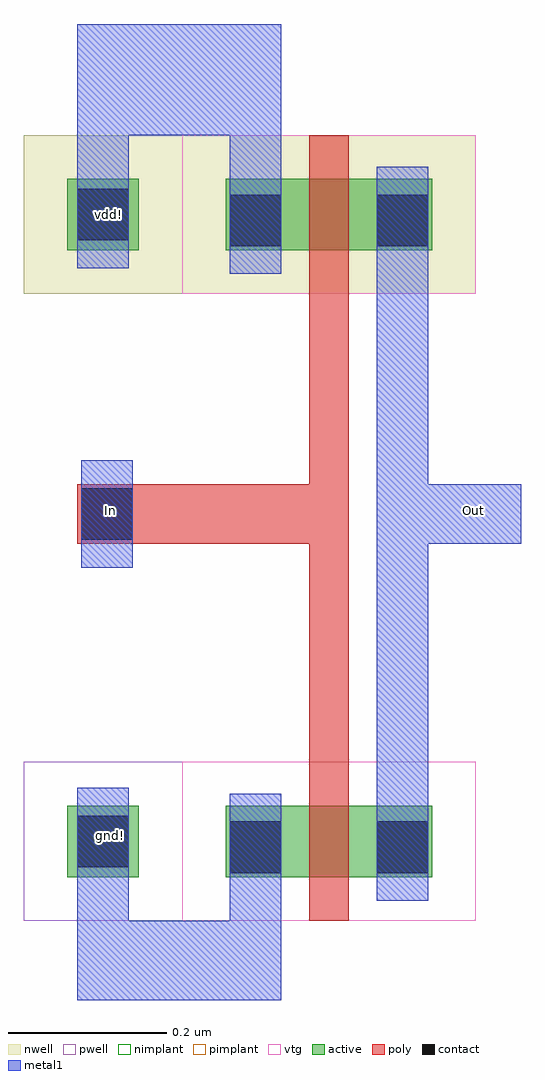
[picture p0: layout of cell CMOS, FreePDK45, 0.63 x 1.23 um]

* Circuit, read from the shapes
.subckt CMOS In Out gnd! vdd!
M1 Out In gnd! gnd! nfet w=0.09u l=0.05u
M2 Out In vdd! vdd! pfet w=0.09u l=0.05u
.ends

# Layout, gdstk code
import gdstk
lib = gdstk.Library(unit=1e-6, precision=5e-10)
def R(c, l, rs):  # rectangles x0, y0, x1, y1
    for r in rs: c.add(gdstk.rectangle(r[:2], r[2:], *l))
active = (1, 0)
pwell = (2, 0)
nwell = (3, 0)
nimplant = (4, 0)
pimplant = (5, 0)
vtg = (6, 0)
poly = (9, 0)
contact = (10, 0)
metal1 = (11, 0)

dcont_2 = lib.new_cell('dcont_2')
R(dcont_2, active, [(-0.0375,0.03,0.0375,0.105)])
R(dcont_2, contact, [(-0.0325,0.035,0.0325,0.1)])
R(dcont_2, metal1, [(-0.0325,0,0.0325,0.135)])

pmos_vtg_0 = lib.new_cell('pmos_vtg_0')
R(pmos_vtg_0, active, [(-0.105,0,0.155,0.09), (-0.105,0,-0.03,0.09), (-0.105,0,-0.03,0.09), (0.08,0,0.155,0.09), (0.08,0,0.155,0.09)])
R(pmos_vtg_0, nwell, [(-0.16,-0.055,0.21,0.145)])
R(pmos_vtg_0, pimplant, [(-0.105,0,0.155,0.09)])
R(pmos_vtg_0, vtg, [(-0.16,-0.055,0.21,0.145)])
R(pmos_vtg_0, poly, [(0,-0.055,0.05,0), (0,-0.055,0.05,0.145), (0,0.09,0.05,0.145)])
pmos_vtg_0.add(gdstk.Reference(dcont_2, (0.1175,-0.03)))
pmos_vtg_0.add(gdstk.Reference(dcont_2, (-0.0675,-0.03)))
pmos_vtg_0.add(gdstk.Label('l = 0.05', (0.06,0.045), layer=230, texttype=0))
pmos_vtg_0.add(gdstk.Label('w = 0.09', (0.025,0.155), layer=230, texttype=0))

nmos_vtg_1 = lib.new_cell('nmos_vtg_1')
R(nmos_vtg_1, active, [(-0.105,0,0.155,0.09), (-0.105,0,-0.03,0.09), (-0.105,0,-0.03,0.09), (0.08,0,0.155,0.09), (0.08,0,0.155,0.09)])
R(nmos_vtg_1, pwell, [(-0.16,-0.055,0.21,0.145)])
R(nmos_vtg_1, nimplant, [(-0.105,0,0.155,0.09)])
R(nmos_vtg_1, vtg, [(-0.16,-0.055,0.21,0.145)])
R(nmos_vtg_1, poly, [(0,-0.055,0.05,0), (0,-0.055,0.05,0.145), (0,0.09,0.05,0.145)])
nmos_vtg_1.add(gdstk.Reference(dcont_2, (0.1175,-0.03)))
nmos_vtg_1.add(gdstk.Reference(dcont_2, (-0.0675,-0.03)))
nmos_vtg_1.add(gdstk.Label('l = 0.05', (0.06,0.045), layer=230, texttype=0))
nmos_vtg_1.add(gdstk.Label('w = 0.09', (0.025,0.155), layer=230, texttype=0))

ptap_0 = lib.new_cell('PTAP_0')
R(ptap_0, active, [(-0.045,-0.045,0.045,0.045)])
R(ptap_0, pwell, [(-0.1,-0.1,0.1,0.1)])
R(ptap_0, pimplant, [(-0.045,-0.045,0.045,0.045)])
R(ptap_0, contact, [(-0.0325,-0.0325,0.0325,0.0325)])
R(ptap_0, metal1, [(-0.0325,-0.0675,0.0325,0.0675)])

ntap_1 = lib.new_cell('NTAP_1')
R(ntap_1, active, [(-0.045,-0.045,0.045,0.045)])
R(ntap_1, nwell, [(-0.1,-0.1,0.1,0.1)])
R(ntap_1, nimplant, [(-0.045,-0.045,0.045,0.045)])
R(ntap_1, contact, [(-0.0325,-0.0325,0.0325,0.0325)])
R(ntap_1, metal1, [(-0.0325,-0.0675,0.0325,0.0675)])

m1_poly_2 = lib.new_cell('M1_POLY_2')
R(m1_poly_2, poly, [(-0.0375,-0.0375,0.0375,0.0375)])
R(m1_poly_2, contact, [(-0.0325,-0.0325,0.0325,0.0325)])
R(m1_poly_2, metal1, [(-0.0325,-0.0675,0.0325,0.0675)])

cmos = lib.new_cell('CMOS')
R(cmos, poly, [(-0.2675,-0.32,-0.2175,0.27), (-0.485,-0.045,-0.2675,0.03)])
R(cmos, metal1, [(-0.56,-0.62,-0.495,-0.4875), (-0.495,-0.62,-0.3025,-0.52), (-0.3675,-0.52,-0.3025,-0.495), (-0.1825,-0.36,-0.1175,0.295), (-0.1175,-0.045,0,0.03), (-0.3675,0.43,-0.3025,0.47), (-0.56,0.4375,-0.495,0.61), (-0.495,0.47,-0.3025,0.61)])
cmos.add(gdstk.Reference(pmos_vtg_0, (-0.2675,0.325)))
cmos.add(gdstk.Reference(nmos_vtg_1, (-0.2675,-0.465)))
cmos.add(gdstk.Reference(ptap_0, (-0.5275,-0.42)))
cmos.add(gdstk.Reference(ntap_1, (-0.5275,0.37)))
cmos.add(gdstk.Reference(m1_poly_2, (-0.5225,-0.0075)))
cmos.add(gdstk.Label('Out', (-0.06,-0.0025), layer=11, texttype=0))
cmos.add(gdstk.Label('In', (-0.5175,-0.0025), layer=11, texttype=0))
cmos.add(gdstk.Label('gnd!', (-0.5175,-0.4125), layer=11, texttype=0))
cmos.add(gdstk.Label('vdd!', (-0.52,0.37), layer=11, texttype=0))

lib.write_gds('CMOS.gds')
